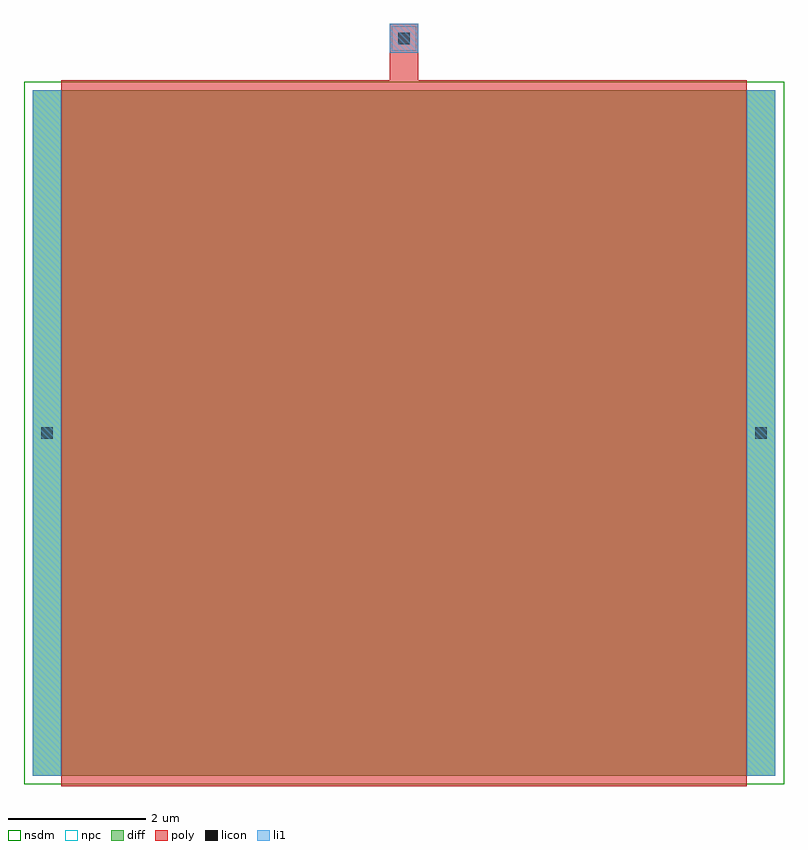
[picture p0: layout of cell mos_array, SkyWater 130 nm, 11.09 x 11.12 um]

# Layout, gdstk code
import gdstk
lib = gdstk.Library(unit=1e-6, precision=1e-09)
def R(c, l, rs):  # rectangles x0, y0, x1, y1
    for r in rs: c.add(gdstk.rectangle(r[:2], r[2:], *l))
diff = (65, 20)
poly = (66, 20)
licon = (66, 44)
li1 = (67, 20)
nsdm = (93, 44)
npc = (95, 20)

mos_array = lib.new_cell('mos_array')
R(mos_array, diff, [(0,0,10.84,10)])
R(mos_array, poly, [(0.42,-0.15,10.42,10), (0.42,10,10.42,10.15), (0.42,10,10.42,10.15), (5.21,10.15,5.63,10.97)])
R(mos_array, licon, [(0.125,4.915,0.295,5.085), (10.545,4.915,10.715,5.085), (5.335,10.675,5.505,10.845)])
R(mos_array, li1, [(0,0,0.42,10), (10.42,0,10.84,10), (5.21,10.55,5.63,10.97)])
R(mos_array, nsdm, [(-0.125,-0.125,10.965,10.125)])
R(mos_array, npc, [(5.24,10.58,5.6,10.94)])

lib.write_gds('mos_array.gds')
